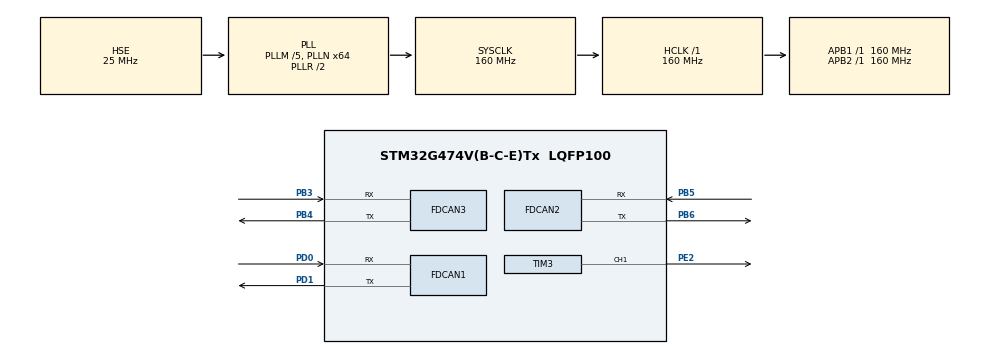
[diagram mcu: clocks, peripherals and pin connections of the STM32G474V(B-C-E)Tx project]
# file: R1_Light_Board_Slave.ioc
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Dma.Request0=TIM3_CH1
Dma.TIM3_CH1.0.Direction=DMA_MEMORY_TO_PERIPH
Dma.TIM3_CH1.0.EventEnable=DISABLE
Dma.TIM3_CH1.0.Instance=DMA1_Channel1
Dma.TIM3_CH1.0.MemDataAlignment=DMA_MDATAALIGN_WORD
Dma.TIM3_CH1.0.MemInc=DMA_MINC_ENABLE
Dma.TIM3_CH1.0.Mode=DMA_NORMAL
Dma.TIM3_CH1.0.PeriphDataAlignment=DMA_PDATAALIGN_HALFWORD
Dma.TIM3_CH1.0.PeriphInc=DMA_PINC_DISABLE
Dma.TIM3_CH1.0.Polarity=HAL_DMAMUX_REQ_GEN_RISING
Dma.TIM3_CH1.0.Priority=DMA_PRIORITY_HIGH
Dma.TIM3_CH1.0.RequestNumber=1
Dma.TIM3_CH1.0.SignalID=NONE
Dma.TIM3_CH1.0.SyncEnable=DISABLE
Dma.TIM3_CH1.0.SyncPolarity=HAL_DMAMUX_SYNC_NO_EVENT
Dma.TIM3_CH1.0.SyncRequestNumber=1
Dma.TIM3_CH1.0.SyncSignalID=NONE
FDCAN1.CalculateBaudRateNominal=1000000
FDCAN1.CalculateTimeBitNominal=1000
FDCAN1.CalculateTimeQuantumNominal=25.0
FDCAN1.DataPrescaler=2
FDCAN1.DataSyncJumpWidth=5
FDCAN1.DataTimeSeg1=31
FDCAN1.DataTimeSeg2=8
FDCAN1.ExtFiltersNbr=1
FDCAN1.FrameFormat=FDCAN_FRAME_FD_BRS
FDCAN1.NominalPrescaler=4
FDCAN1.NominalSyncJumpWidth=5
FDCAN1.NominalTimeSeg1=31
FDCAN1.NominalTimeSeg2=8
FDCAN1.StdFiltersNbr=1
FDCAN2.CalculateBaudRateNominal=1000000
FDCAN2.CalculateTimeBitNominal=1000
FDCAN2.CalculateTimeQuantumNominal=25.0
FDCAN2.DataPrescaler=2
FDCAN2.DataSyncJumpWidth=5
FDCAN2.DataTimeSeg1=31
FDCAN2.DataTimeSeg2=8
FDCAN2.ExtFiltersNbr=1
FDCAN2.FrameFormat=FDCAN_FRAME_FD_BRS
FDCAN2.NominalPrescaler=4
FDCAN2.NominalSyncJumpWidth=5
FDCAN2.NominalTimeSeg1=31
FDCAN2.NominalTimeSeg2=8
FDCAN2.StdFiltersNbr=1
FDCAN3.CalculateBaudRateNominal=1000000
FDCAN3.CalculateTimeBitNominal=1000
FDCAN3.CalculateTimeQuantumNominal=25.0
FDCAN3.DataPrescaler=2
FDCAN3.DataSyncJumpWidth=5
FDCAN3.DataTimeSeg1=31
FDCAN3.DataTimeSeg2=8
FDCAN3.ExtFiltersNbr=1
FDCAN3.FrameFormat=FDCAN_FRAME_FD_BRS
FDCAN3.NominalPrescaler=4
FDCAN3.NominalSyncJumpWidth=5
FDCAN3.NominalTimeSeg1=31
FDCAN3.NominalTimeSeg2=8
FDCAN3.StdFiltersNbr=1
Mcu.Family=STM32G4
Mcu.Name=STM32G474V(B-C-E)Tx
Mcu.Package=LQFP100
NVIC.DMA1_Channel1_IRQn=true\:0\:0\:false\:false\:true\:false\:true\:true
NVIC.FDCAN1_IT0_IRQn=true\:0\:0\:false\:false\:true\:true\:true\:true
NVIC.FDCAN1_IT1_IRQn=true\:0\:0\:false\:false\:true\:true\:true\:true
NVIC.FDCAN2_IT0_IRQn=true\:0\:0\:false\:false\:true\:true\:true\:true
NVIC.FDCAN2_IT1_IRQn=true\:0\:0\:false\:false\:true\:true\:true\:true
NVIC.FDCAN3_IT0_IRQn=true\:0\:0\:false\:false\:true\:true\:true\:true
NVIC.FDCAN3_IT1_IRQn=true\:0\:0\:false\:false\:true\:true\:true\:true
NVIC.PriorityGroup=NVIC_PRIORITYGROUP_4
NVIC.TIM5_IRQn=true\:0\:0\:false\:false\:true\:true\:true\:true
NVIC.TIM6_DAC_IRQn=true\:0\:0\:false\:false\:true\:true\:true\:true
NVIC.TIM7_DAC_IRQn=true\:0\:0\:false\:false\:true\:true\:true\:true
PA13.Mode=Serial_Wire
PA13.Signal=SYS_JTMS-SWDIO
PA14.Mode=Serial_Wire
PA14.Signal=SYS_JTCK-SWCLK
PB3.Mode=FDCAN_Activate
PB3.Signal=FDCAN3_RX
PB4.Mode=FDCAN_Activate
PB4.Signal=FDCAN3_TX
PB5.Mode=FDCAN_Activate
PB5.Signal=FDCAN2_RX
PB6.Mode=FDCAN_Activate
PB6.Signal=FDCAN2_TX
PC14-OSC32_IN.Mode=LSE-External-Oscillator
PC14-OSC32_IN.Signal=RCC_OSC32_IN
PC15-OSC32_OUT.Mode=LSE-External-Oscillator
PC15-OSC32_OUT.Signal=RCC_OSC32_OUT
PD0.Mode=FDCAN_Activate
PD0.Signal=FDCAN1_RX
PD1.Mode=FDCAN_Activate
PD1.Signal=FDCAN1_TX
PE2.GPIO_Speed=GPIO_SPEED_FREQ_VERY_HIGH
PE2.Signal=S_TIM3_CH1
PF0-OSC_IN.Mode=HSE-External-Oscillator
PF0-OSC_IN.Signal=RCC_OSC_IN
PF1-OSC_OUT.Mode=HSE-External-Oscillator
PF1-OSC_OUT.Signal=RCC_OSC_OUT
ProjectManager.HeapSize=0x200
ProjectManager.StackSize=0x400
ProjectManager.TargetToolchain=MDK-ARM V5.32
RCC.ADC12Freq_Value=160000000
RCC.ADC345Freq_Value=160000000
RCC.AHBFreq_Value=160000000
RCC.APB1Freq_Value=160000000
RCC.APB1TimFreq_Value=160000000
RCC.APB2Freq_Value=160000000
RCC.APB2TimFreq_Value=160000000
RCC.CortexFreq_Value=160000000
RCC.EXTERNAL_CLOCK_VALUE=12288000
RCC.HCLKFreq_Value=160000000
RCC.HSE_VALUE=25000000
RCC.HSI48_VALUE=48000000
RCC.HSI_VALUE=16000000
RCC.PLLM=RCC_PLLM_DIV5
RCC.PLLN=64
RCC.PLLSourceVirtual=RCC_PLLSOURCE_HSE
RCC.SYSCLKFreq_VALUE=160000000
RCC.SYSCLKSource=RCC_SYSCLKSOURCE_PLLCLK
RCC.USBFreq_Value=160000000
RCC.VCOOutputFreq_Value=320000000
SH.S_TIM3_CH1.0=TIM3_CH1,PWM Generation1 CH1
TIM3.Channel-PWM\ Generation1\ CH1=TIM_CHANNEL_1
TIM3.PeriodNoDither=199
TIM5.PeriodNoDither=99999
TIM5.Prescaler=159
TIM6.PeriodNoDither=999
TIM6.Prescaler=159
TIM7.PeriodNoDither=9999
TIM7.Prescaler=159
VP_SYS_VS_DBSignals.Mode=DisableDeadBatterySignals
VP_TIM3_VS_ClockSourceINT.Mode=Internal
VP_TIM5_VS_ClockSourceINT.Mode=Internal
VP_TIM6_VS_ClockSourceINT.Mode=Enable_Timer
VP_TIM7_VS_ClockSourceINT.Mode=Enable_Timer
board=custom

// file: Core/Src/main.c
/* USER CODE BEGIN Header */
/**
 ******************************************************************************
 * @file           : main.c
 * @brief          : Main program body
 ******************************************************************************
 * @attention
 *
 * Copyright (c) 2025 STMicroelectronics.
 * All rights reserved.
 *
 * This software is licensed under terms that can be found in the LICENSE file
 * in the root directory of this software component.
 * If no LICENSE file comes with this software, it is provided AS-IS.
 *
 ******************************************************************************
 */
/* USER CODE END Header */
#include "main.h"
#include "dma.h"
#include "fdcan.h"
#include "tim.h"
#include "gpio.h"

/* USER CODE BEGIN Includes */
#include "FDcan_bsp.h"
#include "WS2812.h"
#include "Color.h"
/* USER CODE END Includes */

void SystemClock_Config(void);
/* USER CODE BEGIN PFP */
void Peripherals_Init(void);
void Reset_All_Task_Flags(void);
/* USER CODE END PFP */

/* USER CODE BEGIN 0 */
uint8_t VISION_Enable = 1;
uint8_t DRIBBLE_Enable = 1;
uint8_t PUSHSHOT_Enable = 1;
uint8_t CHASSIS_Enable = 1;
uint8_t SELF_TEST_Begin = 0;
uint8_t CHALLENGE_Begin = 0;
uint8_t OFFEND_OR_DEFEND_Status = 2;
uint8_t LAST_Status = 2;
uint8_t SELF_TEST_Begin_TxFlag = 0;
uint8_t SELF_TEST_End_TxFlag = 0;
uint8_t CHALLENGE_Begin_TxFlag = 0;
uint8_t CHALLENGE_End_TxFlag = 0;
uint8_t OFFEND_TO_DEFEND_TxFlag = 0;
uint8_t DEFEND_TO_OFFEND_TxFlag = 0;
uint8_t SOMETHING_IS_GOING = 0;
uint8_t HeartBeat_Tx_Index = 0;
uint64_t USER_Systick = 0;
uint64_t SELF_TEST_Begin_Time = 0;
uint64_t CHALLENGE_Begin_Time = 0;
uint64_t LAST_Status_Change_Time = 0;
uint8_t VISION_TxData[1] = {1};
uint8_t DRIBBLE_TxData[1] = {2};
uint8_t PUSHSHOT_TxData[1] = {3};
uint8_t CHASSIS_TxData[1] = {4};
uint8_t SELF_TEST_Begin_TxData[1] = {5};
uint8_t SELF_TEST_End_TxData[1] = {6};
uint8_t CHALLENGE_Begin_TxData[1] = {7};
uint8_t CHALLENGE_End_TxData[1] = {8};
uint8_t OFFEND_TO_DEFEND_TxData[1] = {9};
uint8_t DEFEND_TO_OFFEND_TxData[1] = {10};
volatile uint8_t SYSTEM_INTERRUPT_FLAG = 0;
/* USER CODE END 0 */

int main(void)
{

  /* MCU Configuration--------------------------------------------------------*/

  /* Reset of all peripherals, Initializes the Flash interface and the Systick. */
  HAL_Init();

  /* Configure the system clock */
  SystemClock_Config();

  /* Initialize all configured peripherals */
  MX_GPIO_Init();
  MX_DMA_Init();
  MX_FDCAN1_Init();
  MX_FDCAN2_Init();
  MX_FDCAN3_Init();
  MX_TIM3_Init();
  MX_TIM7_Init();
  MX_TIM6_Init();
  MX_TIM5_Init();
  /* USER CODE BEGIN 2 */
  Peripherals_Init();
  /* USER CODE END 2 */

  /* Infinite loop */
  /* USER CODE BEGIN WHILE */
  while (1)
  {
    /* ------------------------ interrupt ------------------------ */
    if (SYSTEM_INTERRUPT_FLAG)
      continue;

    /* ------------------------ self_test ------------------------ */
    if (SELF_TEST_Begin)
    {
      SELF_TEST_Begin_Time = USER_Systick;
      SELF_TEST_Begin--;
      SELF_TEST_Begin_TxFlag = 1;
      SELF_TEST_End_TxFlag = 1;
    }

    if (SELF_TEST_Begin_TxFlag)
    {
      FDCAN_SendData(&hfdcan3, SELF_TEST_Begin_TxData, 0x105, 1);
      SELF_TEST_Begin_TxFlag = 0;
      HAL_Delay(1);
    }

    if (SELF_TEST_End_TxFlag)
    {
      if (USER_Systick - SELF_TEST_Begin_Time <= 8000)
      {
        uint8_t Spark_Number = ((USER_Systick & 0x1FF) > 256);
        uint8_t color = Spark_Number ? COLOR_GOLD : COLOR_PINK;
        WS2812_Set_Single_Color(1, Color_Table[color].R, Color_Table[color].G, Color_Table[color].B, 0.1);
      }
      else
      {
        FDCAN_SendData(&hfdcan3, SELF_TEST_End_TxData, 0x106, 1);
        SELF_TEST_End_TxFlag = 0;
        SOMETHING_IS_GOING = 0;
        HAL_Delay(1);
      }
    }

    /* ------------------------ challenge ------------------------ */
    if (CHALLENGE_Begin)
    {
      CHALLENGE_Begin_Time = USER_Systick;
      CHALLENGE_Begin--;
      CHALLENGE_Begin_TxFlag = 1;
      CHALLENGE_End_TxFlag = 1;
    }

    if (CHALLENGE_Begin_TxFlag)
    {
      FDCAN_SendData(&hfdcan3, CHALLENGE_Begin_TxData, 0x107, 1);
      CHALLENGE_Begin_TxFlag = 0;
      HAL_Delay(1);
    }

    if (CHALLENGE_End_TxFlag)
    {
      if (USER_Systick - CHALLENGE_Begin_Time <= 25000)
      {
        uint8_t Spark_Number = ((USER_Systick & 0x1FF) > 256);
        uint8_t color = Spark_Number ? COLOR_BLUE : COLOR_GREEN;
        WS2812_Set_Single_Color(1, Color_Table[color].R, Color_Table[color].G, Color_Table[color].B, 0.1);
      }
      else
      {
        FDCAN_SendData(&hfdcan3, CHALLENGE_End_TxData, 0x108, 1);
        CHALLENGE_End_TxFlag = 0;
        SOMETHING_IS_GOING = 0;
        HAL_Delay(1);
      }
    }

    /* ------------------------ offend_to_defend ------------------------ */
    if (OFFEND_OR_DEFEND_Status == 0 && USER_Systick - LAST_Status_Change_Time < 2100)
    {
      uint8_t Spark_Number = ((USER_Systick & 0x1FF) > 256);
      uint8_t color = Spark_Number ? COLOR_CYAN : COLOR_ORANGE;
      WS2812_Set_Single_Color(1, Color_Table[color].R, Color_Table[color].G, Color_Table[color].B, 0.1);

      if (OFFEND_TO_DEFEND_TxFlag)
      {
        FDCAN_SendData(&hfdcan3, OFFEND_TO_DEFEND_TxData, 0x109, 1);
        OFFEND_TO_DEFEND_TxFlag = 0;
        HAL_Delay(1);
      }

      if (USER_Systick - LAST_Status_Change_Time > 2000)
      {
        SOMETHING_IS_GOING = 0;
      }
    }

    /* ------------------------ defend_to_offend ------------------------ */
    if (OFFEND_OR_DEFEND_Status == 1 && USER_Systick - LAST_Status_Change_Time < 2100)
    {
      uint8_t Spark_Number = ((USER_Systick & 0x1FF) > 256);
      uint8_t color = Spark_Number ? COLOR_INDIGO : COLOR_MAGENTA;
      WS2812_Set_Single_Color(1, Color_Table[color].R, Color_Table[color].G, Color_Table[color].B, 0.1);

      if (DEFEND_TO_OFFEND_TxFlag)
      {
        FDCAN_SendData(&hfdcan3, DEFEND_TO_OFFEND_TxData, 0x10A, 1);
        DEFEND_TO_OFFEND_TxFlag = 0;
        HAL_Delay(1);
      }

      if (USER_Systick - LAST_Status_Change_Time > 2000)
      {
        SOMETHING_IS_GOING = 0;
      }
    }
    /* USER CODE END WHILE */

  }
}

void SystemClock_Config(void)
{
  RCC_OscInitTypeDef RCC_OscInitStruct = {0};
  RCC_ClkInitTypeDef RCC_ClkInitStruct = {0};

  /** Configure the main internal regulator output voltage
   */
  HAL_PWREx_ControlVoltageScaling(PWR_REGULATOR_VOLTAGE_SCALE1_BOOST);

  /** Initializes the RCC Oscillators according to the specified parameters
   * in the RCC_OscInitTypeDef structure.
   */
  RCC_OscInitStruct.OscillatorType = RCC_OSCILLATORTYPE_HSE;
  RCC_OscInitStruct.HSEState = RCC_HSE_ON;
  RCC_OscInitStruct.PLL.PLLState = RCC_PLL_ON;
  RCC_OscInitStruct.PLL.PLLSource = RCC_PLLSOURCE_HSE;
  RCC_OscInitStruct.PLL.PLLM = RCC_PLLM_DIV5;
  RCC_OscInitStruct.PLL.PLLN = 64;
  RCC_OscInitStruct.PLL.PLLP = RCC_PLLP_DIV2;
  RCC_OscInitStruct.PLL.PLLQ = RCC_PLLQ_DIV2;
  RCC_OscInitStruct.PLL.PLLR = RCC_PLLR_DIV2;
  if (HAL_RCC_OscConfig(&RCC_OscInitStruct) != HAL_OK)
  {
    Error_Handler();
  }

  /** Initializes the CPU, AHB and APB buses clocks
   */
  RCC_ClkInitStruct.ClockType = RCC_CLOCKTYPE_HCLK | RCC_CLOCKTYPE_SYSCLK | RCC_CLOCKTYPE_PCLK1 | RCC_CLOCKTYPE_PCLK2;
  RCC_ClkInitStruct.SYSCLKSource = RCC_SYSCLKSOURCE_PLLCLK;
  RCC_ClkInitStruct.AHBCLKDivider = RCC_SYSCLK_DIV1;
  RCC_ClkInitStruct.APB1CLKDivider = RCC_HCLK_DIV1;
  RCC_ClkInitStruct.APB2CLKDivider = RCC_HCLK_DIV1;

  if (HAL_RCC_ClockConfig(&RCC_ClkInitStruct, FLASH_LATENCY_4) != HAL_OK)
  {
    Error_Handler();
  }
}

/* USER CODE BEGIN 4 */
void HAL_TIM_PeriodElapsedCallback(TIM_HandleTypeDef *htim)
{
  if (htim->Instance == TIM7)
  {
    WS2812_NewRound_Send(&htim3, TIM_CHANNEL_1);
  }
  else if (htim->Instance == TIM6)
  {
    USER_Systick++;
  }
  else if (htim->Instance == TIM5)
  {
    HeartBeat_Tx_Index++;
    switch (HeartBeat_Tx_Index)
    {
    case 1:
    {
      if (VISION_Enable)
      {
        FDCAN_SendData(&hfdcan1, VISION_TxData, 0x101, 1);
      }
      break;
    }
    case 2:
    {
      if (DRIBBLE_Enable)
      {
        FDCAN_SendData(&hfdcan1, DRIBBLE_TxData, 0x102, 1);
      }
      break;
    }
    case 3:
    {
      if (PUSHSHOT_Enable)
      {
        FDCAN_SendData(&hfdcan2, PUSHSHOT_TxData, 0x103, 1);
      }
      break;
    }
    case 4:
    {
      if (CHASSIS_Enable)
      {
        FDCAN_SendData(&hfdcan2, CHASSIS_TxData, 0x104, 1);
      }
      break;
    }
    default:
    {
      break;
    }
    }
    if (HeartBeat_Tx_Index == 4)
    {
      HeartBeat_Tx_Index = 0;
    }
  }
}
void HAL_FDCAN_RxFifo0Callback(FDCAN_HandleTypeDef *hfdcan, uint32_t RxFifo0ITs)
{
  if (hfdcan == &hfdcan1)
  {
    HAL_FDCAN_GetRxMessage(&hfdcan1, FDCAN_RX_FIFO0, &CAN1_RxMessage, CAN1_RxData);
    if (CAN1_RxMessage.Identifier == 0x20)
    {
      if (SOMETHING_IS_GOING == 0)
      {
        OFFEND_OR_DEFEND_Status = 1;
        SOMETHING_IS_GOING = 1;
        DEFEND_TO_OFFEND_TxFlag = 1;
        LAST_Status_Change_Time = USER_Systick;
      }
    }
    else if (CAN1_RxMessage.Identifier == 0x90)
    {
      SYSTEM_INTERRUPT_FLAG = 1;
      Reset_All_Task_Flags();
    }
    else if (CAN1_RxMessage.Identifier == 0x100)
    {
      SYSTEM_INTERRUPT_FLAG = 0;
    }
  }
  else if (hfdcan == &hfdcan3)
  {
    HAL_FDCAN_GetRxMessage(&hfdcan3, FDCAN_RX_FIFO0, &CAN3_RxMessage, CAN3_RxData);
    if (CAN3_RxMessage.Identifier == 0x30)
    {
      if (SOMETHING_IS_GOING == 0)
      {
        OFFEND_OR_DEFEND_Status = 0;
        SOMETHING_IS_GOING = 1;
        OFFEND_TO_DEFEND_TxFlag = 1;
        LAST_Status_Change_Time = USER_Systick;
      }
    }
    else if (CAN3_RxMessage.Identifier == 0x100)
    {
      SYSTEM_INTERRUPT_FLAG = 0;
    }
  }
}
void HAL_FDCAN_RxFifo1Callback(FDCAN_HandleTypeDef *hfdcan, uint32_t RxFifo1ITs)
{
  if (hfdcan == &hfdcan2)
  {
    HAL_FDCAN_GetRxMessage(&hfdcan2, FDCAN_RX_FIFO1, &CAN2_RxMessage, CAN2_RxData);
    if (CAN2_RxMessage.Identifier == 0x40)
    {
      if (SOMETHING_IS_GOING == 0)
      {
        SELF_TEST_Begin = 1;
        SOMETHING_IS_GOING = 1;
      }
    }
    else if (CAN2_RxMessage.Identifier == 0x50)
    {
      if (SOMETHING_IS_GOING == 0)
      {
        CHALLENGE_Begin = 1;
        SOMETHING_IS_GOING = 1;
      }
    }
    else if (CAN2_RxMessage.Identifier == 0x100)
    {
      SYSTEM_INTERRUPT_FLAG = 0;
    }
  }
}
void Peripherals_Init(void)
{
  FDCAN1_Init(&hfdcan1);
  FDCAN2_Init(&hfdcan2);
  FDCAN3_Init(&hfdcan3);
  HAL_TIM_Base_Start_IT(&htim6);
  HAL_TIM_Base_Start_IT(&htim7);
  HAL_TIM_Base_Start_IT(&htim5);
}
void Reset_All_Task_Flags(void)
{
  SELF_TEST_Begin = 0;
  SELF_TEST_Begin_TxFlag = 0;
  SELF_TEST_End_TxFlag = 0;
  CHALLENGE_Begin = 0;
  CHALLENGE_Begin_TxFlag = 0;
  CHALLENGE_End_TxFlag = 0;
  OFFEND_TO_DEFEND_TxFlag = 0;
  DEFEND_TO_OFFEND_TxFlag = 0;
  SOMETHING_IS_GOING = 0;
}
/* USER CODE END 4 */

void Error_Handler(void)
{
  __disable_irq();
  while (1)
  {
  }
}
